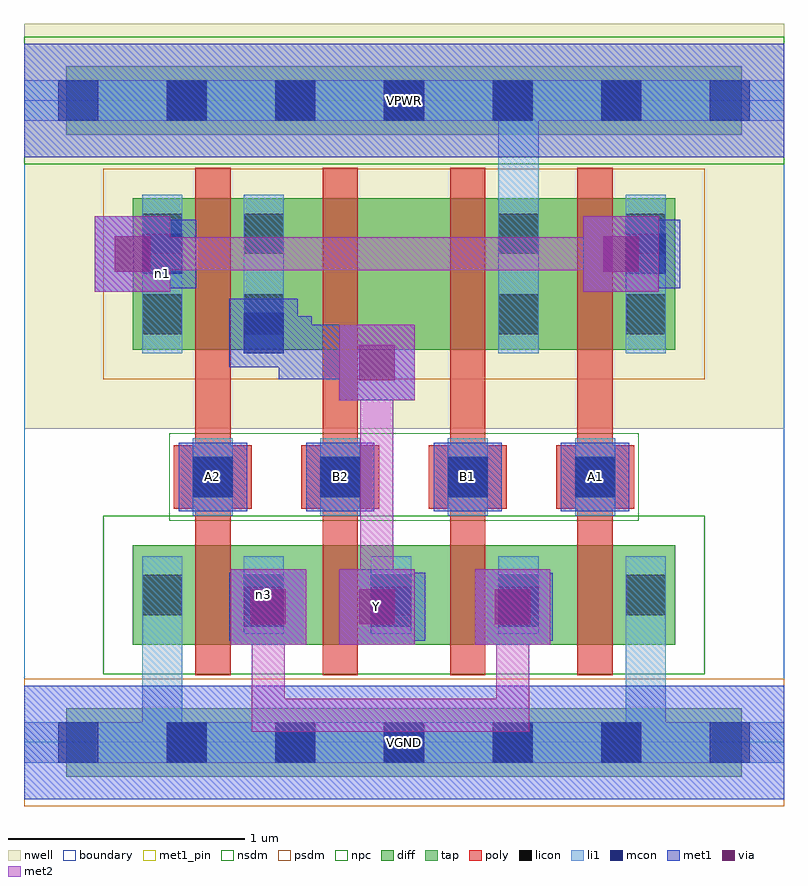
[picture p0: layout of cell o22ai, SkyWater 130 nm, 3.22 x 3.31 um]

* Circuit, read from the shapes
.subckt o22ai A1 A2 B1 B2 VGND VPWR Y n1 n3
XM1 n3 A2 VGND VGND sky130_fd_pr__nfet_01v8 w=0.42 l=0.15
XM2 Y B2 n3 VGND sky130_fd_pr__nfet_01v8 w=0.42 l=0.15
XM3 n3 B1 Y VGND sky130_fd_pr__nfet_01v8 w=0.42 l=0.15
XM4 VGND A1 n3 VGND sky130_fd_pr__nfet_01v8 w=0.42 l=0.15
XM5 Y A2 n1 VPWR sky130_fd_pr__pfet_01v8 w=0.64 l=0.15
XM6 n2 B2 Y VPWR sky130_fd_pr__pfet_01v8 w=0.64 l=0.15
XM7 VPWR B1 n2 VPWR sky130_fd_pr__pfet_01v8 w=0.64 l=0.15
XM8 n1 A1 VPWR VPWR sky130_fd_pr__pfet_01v8 w=0.64 l=0.15
.ends

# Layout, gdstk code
import gdstk
lib = gdstk.Library(unit=1e-6, precision=1e-09)
def R(c, l, rs):  # rectangles x0, y0, x1, y1
    for r in rs: c.add(gdstk.rectangle(r[:2], r[2:], *l))
def A(c, l, x, y, w, h, nx, ny, dx, dy):  # array of equal rectangles
    R(c, l, [(x+i*dx, y+j*dy, x+i*dx+w, y+j*dy+h) for i in range(nx) for j in range(ny)])
nwell = (64, 20)
diff = (65, 20)
tap = (65, 44)
poly = (66, 20)
licon = (66, 44)
li1 = (67, 20)
mcon = (67, 44)
met1_pin = (68, 16)
met1 = (68, 20)
via = (68, 44)
met2 = (69, 20)
nsdm = (93, 44)
psdm = (94, 20)
npc = (95, 20)
boundary = (235, 4)

o22ai = lib.new_cell('o22ai')
R(o22ai, nwell, [(0,1.33,3.22,3.045)])
R(o22ai, diff, [(0.46,0.415,2.76,0.835), (0.46,1.665,2.76,2.305)])
R(o22ai, tap, [(0.18,-0.145,3.04,0.145), (0.18,2.575,3.04,2.865)])
A(o22ai, poly, 0.725, 0.285, 0.15, 2.15, 4, 1, 0.54, 0)
A(o22ai, poly, 0.635, 0.99, 0.33, 0.27, 4, 1, 0.54, 0)
A(o22ai, licon, 0.605, -0.085, 0.17, 0.17, 5, 2, 0.46, 2.72)
A(o22ai, licon, 0.93, 0.54, 0.17, 0.17, 4, 1, 0.54, 0)
A(o22ai, licon, 0.715, 1.04, 0.17, 0.17, 4, 1, 0.54, 0)
R(o22ai, licon, [(0.5,0.54,0.67,0.71), (0.5,1.73,0.67,1.9), (0.93,1.73,1.1,1.9), (2.01,1.73,2.18,1.9), (2.55,1.73,2.72,1.9), (0.5,2.07,0.67,2.24), (0.93,2.07,1.1,2.24), (2.01,2.07,2.18,2.24), (2.55,2.07,2.72,2.24)])
A(o22ai, li1, 0.93, 0.46, 0.17, 0.33, 4, 1, 0.54, 0)
A(o22ai, li1, 0.715, 0.96, 0.17, 0.33, 4, 1, 0.54, 0)
R(o22ai, li1, [(0,-0.085,3.22,0.085), (0.5,-0.085,0.67,0.79), (2.55,-0.085,2.72,0.79), (0.5,0.46,0.67,0.79), (0.5,1.65,0.67,2.32), (0.93,1.65,1.1,2.32), (2.01,1.65,2.18,2.32), (2.01,1.65,2.18,2.805), (2.55,1.65,2.72,2.32), (0,2.635,3.22,2.805)])
A(o22ai, mcon, 0.145, -0.085, 0.17, 0.17, 7, 2, 0.46, 2.72)
A(o22ai, mcon, 0.93, 0.49, 0.17, 0.17, 3, 1, 0.54, 0)
A(o22ai, mcon, 0.715, 1.04, 0.17, 0.17, 4, 1, 0.54, 0)
R(o22ai, mcon, [(0.93,1.65,1.1,1.82), (0.5,1.985,0.67,2.155), (2.55,1.985,2.72,2.155)])
A(o22ai, met1_pin, 0.655, 0.98, 0.29, 0.29, 4, 1, 0.54, 0)
R(o22ai, met1_pin, [(0,-0.24,3.22,0.24), (1.335,0.415,1.655,0.735), (0,2.48,3.22,2.96)])
A(o22ai, met1, 0.87, 0.43, 0.29, 0.29, 3, 1, 0.54, 0)
A(o22ai, met1, 0.655, 0.98, 0.29, 0.29, 4, 1, 0.54, 0)
R(o22ai, met1, [(0,-0.24,3.22,0.24), (0.875,0.415,1.195,0.735), (1.335,0.415,1.655,0.735), (1.91,0.415,2.23,0.735), (0.945,0.505,1.105,0.645), (1.425,0.505,1.625,0.645), (2,0.505,2.165,0.645), (1.335,1.45,1.655,1.77), (1.08,1.54,1.22,1.805), (1.08,1.54,1.565,1.68), (1.22,1.54,1.335,1.77), (0.87,1.59,1.16,1.88), (0.945,1.665,1.22,1.805), (1.22,1.665,1.335,1.77), (0.3,1.91,0.62,2.23), (2.37,1.91,2.69,2.23), (0.44,1.925,0.73,2.215), (2.49,1.925,2.78,2.215), (0.39,2,0.655,2.14), (2.46,2,2.705,2.14), (0,2.48,3.22,2.96)])
R(o22ai, via, [(0.96,0.5,1.11,0.65), (1.42,0.5,1.57,0.65), (1.995,0.5,2.145,0.65), (1.42,1.535,1.57,1.685), (0.385,1.995,0.535,2.145), (2.455,1.995,2.605,2.145)])
R(o22ai, met2, [(0.965,0.045,1.105,0.645), (0.965,0.045,2.14,0.185), (2,0.045,2.14,0.645), (0.875,0.415,1.195,0.735), (1.335,0.415,1.655,0.735), (1.91,0.415,2.23,0.735), (1.425,0.505,1.565,1.68), (1.335,1.45,1.655,1.77), (0.3,1.91,0.62,2.23), (2.37,1.91,2.69,2.23), (0.39,2,2.6,2.14)])
R(o22ai, nsdm, [(0.335,0.29,2.885,0.96), (0,2.45,3.22,2.99)])
R(o22ai, psdm, [(0,-0.27,3.22,0.27), (0.335,1.54,2.885,2.43)])
R(o22ai, npc, [(0.615,0.94,2.605,1.31)])
R(o22ai, boundary, [(0,0,3.22,2.72)])
o22ai.add(gdstk.Label('n3', (1.015,0.625), layer=67, texttype=5))
o22ai.add(gdstk.Label('n1', (0.585,1.985), layer=67, texttype=5))
o22ai.add(gdstk.Label('A1', (2.42,1.125), layer=68, texttype=5))
o22ai.add(gdstk.Label('A2', (0.8,1.125), layer=68, texttype=5))
o22ai.add(gdstk.Label('B1', (1.88,1.125), layer=68, texttype=5))
o22ai.add(gdstk.Label('B2', (1.34,1.125), layer=68, texttype=5))
o22ai.add(gdstk.Label('Y', (1.495,0.575), layer=68, texttype=5))
o22ai.add(gdstk.Label('VPWR', (1.61,2.72), layer=68, texttype=5))
o22ai.add(gdstk.Label('VGND', (1.61,0), layer=68, texttype=5))
o22ai.add(gdstk.Label('A1', (2.42,1.125), layer=68, texttype=16))
o22ai.add(gdstk.Label('A2', (0.8,1.125), layer=68, texttype=16))
o22ai.add(gdstk.Label('B1', (1.88,1.125), layer=68, texttype=16))
o22ai.add(gdstk.Label('B2', (1.34,1.125), layer=68, texttype=16))
o22ai.add(gdstk.Label('Y', (1.495,0.575), layer=68, texttype=16))
o22ai.add(gdstk.Label('VPWR', (1.61,2.72), layer=68, texttype=16))
o22ai.add(gdstk.Label('VGND', (1.61,0), layer=68, texttype=16))

lib.write_gds('o22ai.gds')
